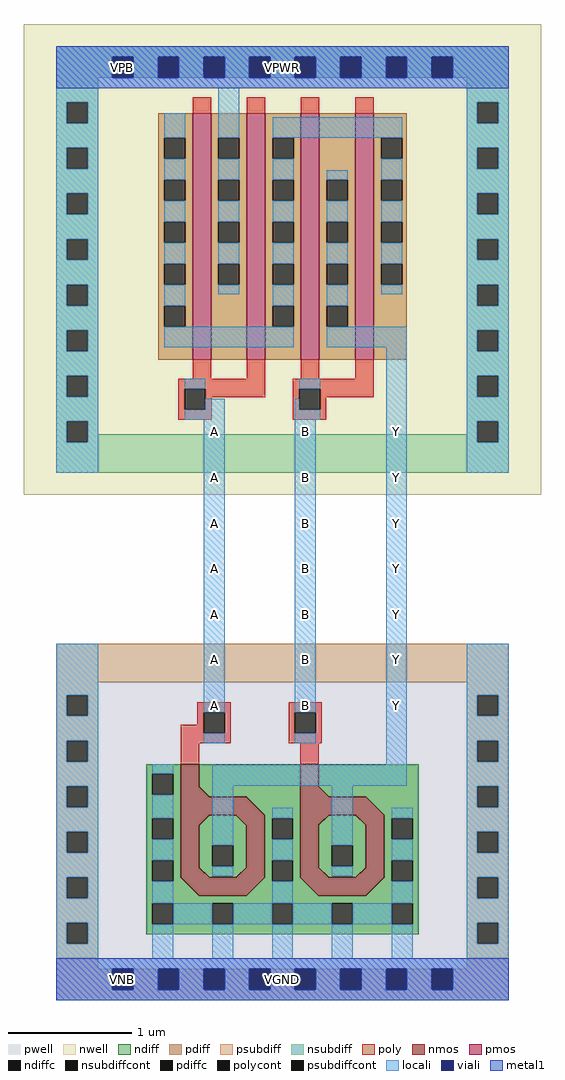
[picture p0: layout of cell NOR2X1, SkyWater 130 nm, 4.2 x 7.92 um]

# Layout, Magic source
magic
tech sky130A
magscale 1 2
<< nwell >>
rect -87 786 753 1550
<< pwell >>
rect -34 -34 700 544
<< nmos >>
rect 168 296 198 349
tri 198 296 214 312 sw
rect 362 296 392 349
tri 392 296 408 312 sw
rect 168 266 274 296
tri 274 266 304 296 sw
rect 168 165 198 266
tri 198 250 214 266 nw
tri 258 250 274 266 ne
tri 198 165 214 181 sw
tri 258 165 274 181 se
rect 274 165 304 266
rect 362 266 468 296
tri 468 266 498 296 sw
rect 362 251 393 266
tri 393 251 408 266 nw
tri 452 251 467 266 ne
rect 467 251 498 266
tri 168 135 198 165 ne
rect 198 135 274 165
tri 274 135 304 165 nw
rect 362 165 392 251
tri 392 165 408 181 sw
tri 452 165 468 181 se
rect 468 165 498 251
tri 362 135 392 165 ne
rect 392 135 468 165
tri 468 135 498 165 nw
<< pmos >>
rect 187 1005 217 1405
rect 275 1005 305 1405
rect 363 1005 393 1405
rect 451 1005 481 1405
<< ndiff >>
rect 112 333 168 349
rect 112 299 122 333
rect 156 299 168 333
rect 112 261 168 299
rect 198 312 362 349
tri 198 296 214 312 ne
rect 214 296 362 312
rect 392 312 554 349
tri 392 296 408 312 ne
rect 408 296 554 312
tri 274 266 304 296 ne
rect 112 227 122 261
rect 156 227 168 261
rect 112 193 168 227
rect 112 159 122 193
rect 156 159 168 193
tri 198 250 214 266 se
rect 214 250 258 266
tri 258 250 274 266 sw
rect 198 217 274 250
rect 198 183 219 217
rect 253 183 274 217
rect 198 181 274 183
tri 198 165 214 181 ne
rect 214 165 258 181
tri 258 165 274 181 nw
rect 304 261 362 296
tri 468 266 498 296 ne
rect 304 227 316 261
rect 350 227 362 261
tri 393 251 408 266 se
rect 408 251 452 266
tri 452 251 467 266 sw
rect 498 261 554 296
rect 304 193 362 227
rect 112 135 168 159
tri 168 135 198 165 sw
tri 274 135 304 165 se
rect 304 159 316 193
rect 350 159 362 193
rect 392 217 468 251
rect 392 183 413 217
rect 447 183 468 217
rect 392 181 468 183
tri 392 165 408 181 ne
rect 408 165 452 181
tri 452 165 468 181 nw
rect 498 227 510 261
rect 544 227 554 261
rect 498 193 554 227
rect 304 135 362 159
tri 362 135 392 165 sw
tri 468 135 498 165 se
rect 498 159 510 193
rect 544 159 554 193
rect 498 135 554 159
rect 112 123 554 135
rect 112 89 122 123
rect 156 89 219 123
rect 253 89 316 123
rect 350 89 413 123
rect 447 89 510 123
rect 544 89 554 123
rect 112 73 554 89
<< pdiff >>
rect 131 1365 187 1405
rect 131 1331 141 1365
rect 175 1331 187 1365
rect 131 1297 187 1331
rect 131 1263 141 1297
rect 175 1263 187 1297
rect 131 1229 187 1263
rect 131 1195 141 1229
rect 175 1195 187 1229
rect 131 1161 187 1195
rect 131 1127 141 1161
rect 175 1127 187 1161
rect 131 1093 187 1127
rect 131 1059 141 1093
rect 175 1059 187 1093
rect 131 1005 187 1059
rect 217 1365 275 1405
rect 217 1331 229 1365
rect 263 1331 275 1365
rect 217 1297 275 1331
rect 217 1263 229 1297
rect 263 1263 275 1297
rect 217 1229 275 1263
rect 217 1195 229 1229
rect 263 1195 275 1229
rect 217 1161 275 1195
rect 217 1127 229 1161
rect 263 1127 275 1161
rect 217 1005 275 1127
rect 305 1365 363 1405
rect 305 1331 317 1365
rect 351 1331 363 1365
rect 305 1297 363 1331
rect 305 1263 317 1297
rect 351 1263 363 1297
rect 305 1229 363 1263
rect 305 1195 317 1229
rect 351 1195 363 1229
rect 305 1161 363 1195
rect 305 1127 317 1161
rect 351 1127 363 1161
rect 305 1093 363 1127
rect 305 1059 317 1093
rect 351 1059 363 1093
rect 305 1005 363 1059
rect 393 1297 451 1405
rect 393 1263 405 1297
rect 439 1263 451 1297
rect 393 1229 451 1263
rect 393 1195 405 1229
rect 439 1195 451 1229
rect 393 1161 451 1195
rect 393 1127 405 1161
rect 439 1127 451 1161
rect 393 1093 451 1127
rect 393 1059 405 1093
rect 439 1059 451 1093
rect 393 1005 451 1059
rect 481 1365 535 1405
rect 481 1331 493 1365
rect 527 1331 535 1365
rect 481 1297 535 1331
rect 481 1263 493 1297
rect 527 1263 535 1297
rect 481 1229 535 1263
rect 481 1195 493 1229
rect 527 1195 535 1229
rect 481 1161 535 1195
rect 481 1127 493 1161
rect 527 1127 535 1161
rect 481 1005 535 1127
<< ndiffc >>
rect 122 299 156 333
rect 122 227 156 261
rect 122 159 156 193
rect 219 183 253 217
rect 316 227 350 261
rect 316 159 350 193
rect 413 183 447 217
rect 510 227 544 261
rect 510 159 544 193
rect 122 89 156 123
rect 219 89 253 123
rect 316 89 350 123
rect 413 89 447 123
rect 510 89 544 123
<< pdiffc >>
rect 141 1331 175 1365
rect 141 1263 175 1297
rect 141 1195 175 1229
rect 141 1127 175 1161
rect 141 1059 175 1093
rect 229 1331 263 1365
rect 229 1263 263 1297
rect 229 1195 263 1229
rect 229 1127 263 1161
rect 317 1331 351 1365
rect 317 1263 351 1297
rect 317 1195 351 1229
rect 317 1127 351 1161
rect 317 1059 351 1093
rect 405 1263 439 1297
rect 405 1195 439 1229
rect 405 1127 439 1161
rect 405 1059 439 1093
rect 493 1331 527 1365
rect 493 1263 527 1297
rect 493 1195 527 1229
rect 493 1127 527 1161
<< psubdiff >>
rect -34 482 700 544
rect -34 461 34 482
rect -34 427 -17 461
rect 17 427 34 461
rect 632 461 700 482
rect -34 387 34 427
rect -34 353 -17 387
rect 17 353 34 387
rect -34 313 34 353
rect 632 427 649 461
rect 683 427 700 461
rect 632 387 700 427
rect 632 353 649 387
rect 683 353 700 387
rect -34 279 -17 313
rect 17 279 34 313
rect -34 239 34 279
rect -34 205 -17 239
rect 17 205 34 239
rect -34 165 34 205
rect -34 131 -17 165
rect 17 131 34 165
rect -34 91 34 131
rect -34 57 -17 91
rect 17 57 34 91
rect 632 313 700 353
rect 632 279 649 313
rect 683 279 700 313
rect 632 239 700 279
rect 632 205 649 239
rect 683 205 700 239
rect 632 165 700 205
rect 632 131 649 165
rect 683 131 700 165
rect 632 91 700 131
rect -34 17 34 57
rect 632 57 649 91
rect 683 57 700 91
rect 632 17 700 57
rect -34 -17 57 17
rect 91 -17 131 17
rect 165 -17 205 17
rect 239 -17 279 17
rect 313 -17 353 17
rect 387 -17 427 17
rect 461 -17 501 17
rect 535 -17 575 17
rect 609 -17 700 17
rect -34 -34 700 -17
<< nsubdiff >>
rect -34 1497 700 1514
rect -34 1463 57 1497
rect 91 1463 131 1497
rect 165 1463 205 1497
rect 239 1463 279 1497
rect 313 1463 353 1497
rect 387 1463 427 1497
rect 461 1463 501 1497
rect 535 1463 575 1497
rect 609 1463 700 1497
rect -34 1423 34 1463
rect -34 1389 -17 1423
rect 17 1389 34 1423
rect 632 1423 700 1463
rect -34 1349 34 1389
rect -34 1315 -17 1349
rect 17 1315 34 1349
rect -34 1275 34 1315
rect -34 1241 -17 1275
rect 17 1241 34 1275
rect -34 1201 34 1241
rect -34 1167 -17 1201
rect 17 1167 34 1201
rect -34 1127 34 1167
rect -34 1093 -17 1127
rect 17 1093 34 1127
rect -34 1053 34 1093
rect -34 1019 -17 1053
rect 17 1019 34 1053
rect -34 979 34 1019
rect 632 1389 649 1423
rect 683 1389 700 1423
rect 632 1349 700 1389
rect 632 1315 649 1349
rect 683 1315 700 1349
rect 632 1275 700 1315
rect 632 1241 649 1275
rect 683 1241 700 1275
rect 632 1201 700 1241
rect 632 1167 649 1201
rect 683 1167 700 1201
rect 632 1127 700 1167
rect 632 1093 649 1127
rect 683 1093 700 1127
rect 632 1053 700 1093
rect 632 1019 649 1053
rect 683 1019 700 1053
rect -34 945 -17 979
rect 17 945 34 979
rect -34 905 34 945
rect 632 979 700 1019
rect 632 945 649 979
rect 683 945 700 979
rect -34 871 -17 905
rect 17 884 34 905
rect 632 905 700 945
rect 632 884 649 905
rect 17 871 649 884
rect 683 871 700 905
rect -34 822 700 871
<< psubdiffcont >>
rect -17 427 17 461
rect -17 353 17 387
rect 649 427 683 461
rect 649 353 683 387
rect -17 279 17 313
rect -17 205 17 239
rect -17 131 17 165
rect -17 57 17 91
rect 649 279 683 313
rect 649 205 683 239
rect 649 131 683 165
rect 649 57 683 91
rect 57 -17 91 17
rect 131 -17 165 17
rect 205 -17 239 17
rect 279 -17 313 17
rect 353 -17 387 17
rect 427 -17 461 17
rect 501 -17 535 17
rect 575 -17 609 17
<< nsubdiffcont >>
rect 57 1463 91 1497
rect 131 1463 165 1497
rect 205 1463 239 1497
rect 279 1463 313 1497
rect 353 1463 387 1497
rect 427 1463 461 1497
rect 501 1463 535 1497
rect 575 1463 609 1497
rect -17 1389 17 1423
rect -17 1315 17 1349
rect -17 1241 17 1275
rect -17 1167 17 1201
rect -17 1093 17 1127
rect -17 1019 17 1053
rect 649 1389 683 1423
rect 649 1315 683 1349
rect 649 1241 683 1275
rect 649 1167 683 1201
rect 649 1093 683 1127
rect 649 1019 683 1053
rect -17 945 17 979
rect 649 945 683 979
rect -17 871 17 905
rect 649 871 683 905
<< poly >>
rect 187 1405 217 1431
rect 275 1405 305 1431
rect 363 1405 393 1431
rect 451 1405 481 1431
rect 187 974 217 1005
rect 275 974 305 1005
rect 363 974 393 1005
rect 451 974 481 1005
rect 164 958 305 974
rect 164 924 174 958
rect 208 944 305 958
rect 350 958 481 974
rect 208 924 218 944
rect 164 908 218 924
rect 350 924 360 958
rect 394 944 481 958
rect 394 924 404 944
rect 350 908 404 924
rect 195 433 249 449
rect 195 413 205 433
rect 168 399 205 413
rect 239 399 249 433
rect 168 383 249 399
rect 343 433 397 449
rect 343 399 353 433
rect 387 399 397 433
rect 343 383 397 399
rect 168 349 198 383
rect 362 349 392 383
<< polycont >>
rect 174 924 208 958
rect 360 924 394 958
rect 205 399 239 433
rect 353 399 387 433
<< locali >>
rect -34 1497 700 1514
rect -34 1463 57 1497
rect 91 1463 131 1497
rect 165 1463 205 1497
rect 239 1463 279 1497
rect 313 1463 353 1497
rect 387 1463 427 1497
rect 461 1463 501 1497
rect 535 1463 575 1497
rect 609 1463 700 1497
rect -34 1446 700 1463
rect -34 1423 34 1446
rect -34 1389 -17 1423
rect 17 1389 34 1423
rect -34 1349 34 1389
rect -34 1315 -17 1349
rect 17 1315 34 1349
rect -34 1275 34 1315
rect -34 1241 -17 1275
rect 17 1241 34 1275
rect -34 1201 34 1241
rect -34 1167 -17 1201
rect 17 1167 34 1201
rect -34 1127 34 1167
rect -34 1093 -17 1127
rect 17 1093 34 1127
rect -34 1053 34 1093
rect -34 1019 -17 1053
rect 17 1019 34 1053
rect 141 1365 175 1405
rect 141 1297 175 1331
rect 141 1229 175 1263
rect 141 1161 175 1195
rect 141 1093 175 1127
rect 229 1365 263 1446
rect 632 1423 700 1446
rect 229 1297 263 1331
rect 229 1229 263 1263
rect 229 1161 263 1195
rect 229 1111 263 1127
rect 317 1365 527 1399
rect 317 1297 351 1331
rect 317 1229 351 1263
rect 317 1161 351 1195
rect 317 1093 351 1127
rect 141 1025 351 1059
rect 405 1297 439 1313
rect 405 1229 439 1263
rect 405 1161 439 1195
rect 405 1093 439 1127
rect 493 1297 527 1331
rect 493 1229 527 1263
rect 493 1161 527 1195
rect 493 1111 527 1127
rect 632 1389 649 1423
rect 683 1389 700 1423
rect 632 1349 700 1389
rect 632 1315 649 1349
rect 683 1315 700 1349
rect 632 1275 700 1315
rect 632 1241 649 1275
rect 683 1241 700 1275
rect 632 1201 700 1241
rect 632 1167 649 1201
rect 683 1167 700 1201
rect 632 1127 700 1167
rect 632 1093 649 1127
rect 683 1093 700 1127
rect 405 1025 535 1059
rect -34 979 34 1019
rect -34 945 -17 979
rect 17 945 34 979
rect -34 905 34 945
rect 174 958 208 974
rect 360 958 394 974
rect 208 924 239 942
rect 174 908 239 924
rect -34 871 -17 905
rect 17 871 34 905
rect -34 822 34 871
rect -34 461 34 544
rect -34 427 -17 461
rect 17 427 34 461
rect -34 387 34 427
rect -34 353 -17 387
rect 17 353 34 387
rect 205 433 239 908
rect 205 383 239 399
rect 353 924 360 942
rect 353 908 394 924
rect 353 433 387 908
rect 353 383 387 399
rect -34 313 34 353
rect -34 279 -17 313
rect 17 279 34 313
rect -34 239 34 279
rect -34 205 -17 239
rect 17 205 34 239
rect -34 165 34 205
rect -34 131 -17 165
rect 17 131 34 165
rect -34 91 34 131
rect -34 57 -17 91
rect 17 57 34 91
rect -34 34 34 57
rect 122 333 156 349
rect 501 348 535 1025
rect 632 1053 700 1093
rect 632 1019 649 1053
rect 683 1019 700 1053
rect 632 979 700 1019
rect 632 945 649 979
rect 683 945 700 979
rect 632 905 700 945
rect 632 871 649 905
rect 683 871 700 905
rect 632 822 700 871
rect 122 261 156 299
rect 122 193 156 227
rect 219 314 535 348
rect 632 461 700 544
rect 632 427 649 461
rect 683 427 700 461
rect 632 387 700 427
rect 632 353 649 387
rect 683 353 700 387
rect 219 217 253 314
rect 219 167 253 183
rect 316 261 350 278
rect 316 193 350 227
rect 122 123 156 159
rect 413 217 447 314
rect 632 313 700 353
rect 632 279 649 313
rect 683 279 700 313
rect 413 167 447 183
rect 510 261 544 278
rect 510 193 544 227
rect 316 123 350 159
rect 510 123 544 159
rect 156 89 219 123
rect 253 89 316 123
rect 350 89 413 123
rect 447 89 510 123
rect 122 34 156 89
rect 219 34 253 89
rect 316 34 350 89
rect 413 34 447 89
rect 510 34 544 89
rect 632 239 700 279
rect 632 205 649 239
rect 683 205 700 239
rect 632 165 700 205
rect 632 131 649 165
rect 683 131 700 165
rect 632 91 700 131
rect 632 57 649 91
rect 683 57 700 91
rect 632 34 700 57
rect -34 17 700 34
rect -34 -17 57 17
rect 91 -17 131 17
rect 165 -17 205 17
rect 239 -17 279 17
rect 313 -17 353 17
rect 387 -17 427 17
rect 461 -17 501 17
rect 535 -17 575 17
rect 609 -17 700 17
rect -34 -34 700 -17
<< viali >>
rect 57 1463 91 1497
rect 131 1463 165 1497
rect 205 1463 239 1497
rect 279 1463 313 1497
rect 353 1463 387 1497
rect 427 1463 461 1497
rect 501 1463 535 1497
rect 575 1463 609 1497
rect 57 -17 91 17
rect 131 -17 165 17
rect 205 -17 239 17
rect 279 -17 313 17
rect 353 -17 387 17
rect 427 -17 461 17
rect 501 -17 535 17
rect 575 -17 609 17
<< metal1 >>
rect -34 1497 700 1514
rect -34 1463 57 1497
rect 91 1463 131 1497
rect 165 1463 205 1497
rect 239 1463 279 1497
rect 313 1463 353 1497
rect 387 1463 427 1497
rect 461 1463 501 1497
rect 535 1463 575 1497
rect 609 1463 700 1497
rect -34 1446 700 1463
rect -34 17 700 34
rect -34 -17 57 17
rect 91 -17 131 17
rect 165 -17 205 17
rect 239 -17 279 17
rect 313 -17 353 17
rect 387 -17 427 17
rect 461 -17 501 17
rect 535 -17 575 17
rect 609 -17 700 17
rect -34 -34 700 -17
<< labels >>
rlabel metal1 501 427 535 461 1 Y
port 1 n
rlabel metal1 501 501 535 535 1 Y
port 2 n
rlabel metal1 501 575 535 609 1 Y
port 3 n
rlabel metal1 501 649 535 683 1 Y
port 4 n
rlabel metal1 501 723 535 757 1 Y
port 5 n
rlabel metal1 501 797 535 831 1 Y
port 6 n
rlabel metal1 501 871 535 905 1 Y
port 7 n
rlabel metal1 205 427 239 461 1 A
port 8 n
rlabel metal1 205 501 239 535 1 A
port 9 n
rlabel metal1 205 575 239 609 1 A
port 10 n
rlabel metal1 205 649 239 683 1 A
port 11 n
rlabel metal1 205 723 239 757 1 A
port 12 n
rlabel metal1 205 797 239 831 1 A
port 13 n
rlabel metal1 205 871 239 905 1 A
port 14 n
rlabel metal1 353 427 387 461 1 B
port 15 n
rlabel metal1 353 501 387 535 1 B
port 16 n
rlabel metal1 353 575 387 609 1 B
port 17 n
rlabel metal1 353 649 387 683 1 B
port 18 n
rlabel metal1 353 723 387 757 1 B
port 19 n
rlabel metal1 353 797 387 831 1 B
port 20 n
rlabel metal1 353 871 387 905 1 B
port 21 n
rlabel metal1 -34 1446 700 1514 1 VPWR
port 22 n
rlabel metal1 -34 -34 700 34 1 VGND
port 23 n
rlabel nwell 57 1463 91 1497 1 VPB
port 24 n
rlabel pwell 57 -17 91 17 1 VNB
port 25 n
<< end >>
